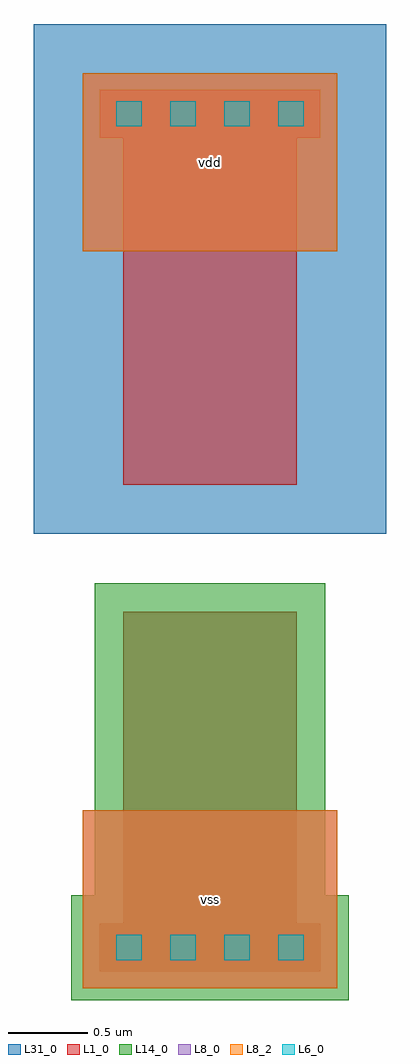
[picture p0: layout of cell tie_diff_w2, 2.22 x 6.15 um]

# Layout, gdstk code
import gdstk
lib = gdstk.Library(unit=1e-6, precision=1e-09)
def R(c, l, rs):  # rectangles x0, y0, x1, y1
    for r in rs: c.add(gdstk.rectangle(r[:2], r[2:], *l))
def A(c, l, x, y, w, h, nx, ny, dx, dy):  # array of equal rectangles
    R(c, l, [(x+i*dx, y+j*dy, x+i*dx+w, y+j*dy+h) for i in range(nx) for j in range(ny)])
def P(c, l, *ps):  # polygons
    for p in ps: c.add(gdstk.Polygon(p, *l))
L1_0 = (1, 0)
L6_0 = (6, 0)
L8_0 = (8, 0)
L8_2 = (8, 2)
L14_0 = (14, 0)
L31_0 = (31, 0)

tie_diff_w2 = lib.new_cell('tie_diff_w2')
P(tie_diff_w2, L1_0, [(0.255,3.17),(0.255,5.355),(0.105,5.355),(0.105,5.655),(1.495,5.655),(1.495,5.355),(1.345,5.355),(1.345,3.17)],
  [(0.105,0.105),(0.105,0.405),(0.255,0.405),(0.255,2.37),(1.345,2.37),(1.345,0.405),(1.495,0.405),(1.495,0.105)])
A(tie_diff_w2, L6_0, 0.21, 0.175, 0.16, 0.16, 4, 2, 0.34, 5.25)
R(tie_diff_w2, L8_0, [(0,0,1.6,1.12), (0,4.64,1.6,5.76)])
R(tie_diff_w2, L8_2, [(0,0,1.6,1.12), (0,4.64,1.6,5.76)])
P(tie_diff_w2, L14_0, [(-0.075,-0.075),(-0.075,0.585),(0.075,0.585),(0.075,2.55),(1.525,2.55),(1.525,0.585),(1.675,0.585),(1.675,-0.075)])
R(tie_diff_w2, L31_0, [(-0.31,2.86,1.91,6.07)])
tie_diff_w2.add(gdstk.Label('vdd', (0.8,5.2), layer=8, texttype=2))
tie_diff_w2.add(gdstk.Label('vss', (0.8,0.56), layer=8, texttype=2))

lib.write_gds('tie_diff_w2.gds')
